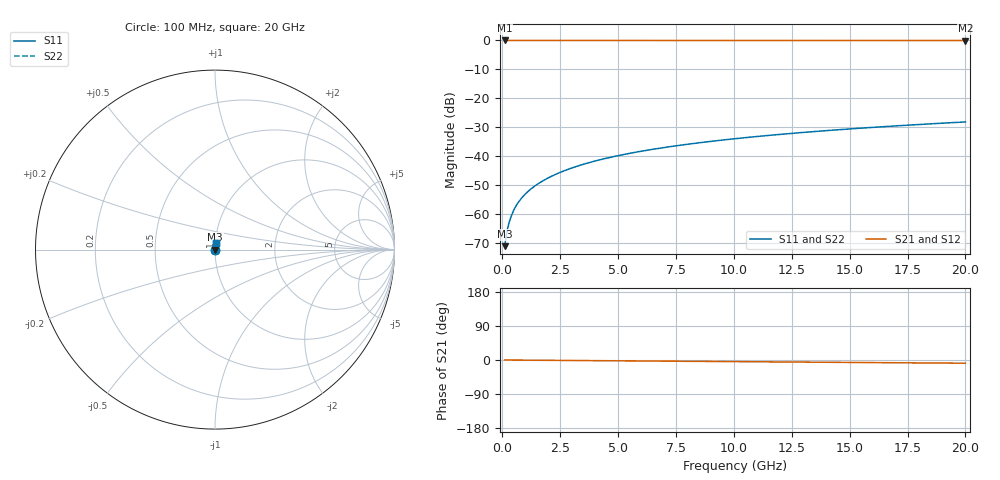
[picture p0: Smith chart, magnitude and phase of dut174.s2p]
! Touchstone file exported from HFSS 2026.1.0
!  File:  C:/ffzhzh/LocalFiles/Ansys_Project_Files/temp_train_TSV_174_1782991153_40604.aedt
!  Generated:  07:21:12 PM Jul  2, 2026
!  Design:  TSV
!  Project:  temp_train_TSV_174_1782991153_40604
! Variables:
!  h_bsmrdl = 2um
!  h_ox = 20um
!  h_rdl = 5um
!  h_sub = 79.4um
!  h_tmrdl = 5um
!  h_tsv = 79.4um
!  h_via = 3um
!  l_bsmrdl = 300um
!  l_sub = 418.46um
!  l_tmrdl = 200um
!  m_sub = 200um
!  pitch = 51.52um
!  r_tsv = 9.23um
!  s_tmrdl = 10um
!  w_bsmrdl = 18um
!  w_sub = 500um
!  w_tmrdl = 12um
!  x_tsv_center1 = 206um
!  x_tsv_center2 = 524um
!  x_tsv_center3 = 736um
!  x_tsv_center4 = 1054um
!  x_tsv_center5 = 1266um
!  x_tsv_center6 = 1584um
# GHz S MA R 50.000000
! Terminal data exported
! Port[1] = TSV1_1_T1
! Port[2] = TSV1_1_T2
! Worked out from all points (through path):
!   200 points, 100 MHz to 20 GHz, reference 50 ohm
!   highest |S21| = 0.00 dB at 100 MHz (marker M1); lowest = 0.0 dB at 20 GHz (marker M2)
!   group delay of S21, straight-line fit = 1.18 ps
!   lowest |S11| = -71.2 dB at 100 MHz (marker M3), VSWR 1.00, Z = 50 + j0.0236 ohm
!   |S11| at or under -10 dB: start of sweep to end of sweep
!   |S22| runs from -71.2 to -28.2 dB; largest |S21 - S12| = 4.8e-15
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0.1  0.0002749 59.2  0.9999 -0.0  0.9999 -0.0  0.0002749 59.2
! Gamma 0 0 0 0
! Port Impedance 50 0 50 0
0.2  0.0004937 72.1  0.9998 -0.1  0.9998 -0.1  0.0004937 72.1
0.3  0.0007196 76.5  0.9998 -0.1  0.9998 -0.1  0.0007196 76.5
0.4  0.0009437 78.4  0.9998 -0.2  0.9998 -0.2  0.0009437 78.4
0.5  0.001164 79.5  0.9998 -0.2  0.9998 -0.2  0.001164 79.5
0.6  0.00138 80.1  0.9998 -0.3  0.9998 -0.3  0.00138 80.1
0.7  0.001592 80.6  0.9997 -0.3  0.9997 -0.3  0.001592 80.6
0.8  0.0018 81.0  0.9997 -0.4  0.9997 -0.4  0.0018 81.0
1  0.00221 81.5  0.9997 -0.4  0.9997 -0.4  0.00221 81.5
1.4  0.003014 82.4  0.9996 -0.6  0.9996 -0.6  0.003014 82.4
1.7  0.003612 82.9  0.9996 -0.7  0.9996 -0.7  0.003612 82.9
2  0.004209 83.3  0.9996 -0.9  0.9996 -0.9  0.004209 83.3
2.7  0.0056 83.8  0.9995 -1.2  0.9995 -1.2  0.0056 83.8
3.5  0.007184 84.1  0.9994 -1.5  0.9994 -1.5  0.007184 84.1
4.2  0.008565 84.2  0.9994 -1.8  0.9994 -1.8  0.008566 84.2
5  0.01014 84.1  0.9993 -2.2  0.9993 -2.2  0.01014 84.1
6.8  0.01365 83.9  0.9991 -2.9  0.9991 -2.9  0.01365 83.9
8.3  0.01655 83.5  0.999 -3.6  0.999 -3.6  0.01655 83.5
10.1  0.02002 83.0  0.9989 -4.3  0.9989 -4.3  0.02002 83.0
13.4  0.02636 81.9  0.9986 -5.7  0.9986 -5.7  0.02636 81.9
16.7  0.03264 80.8  0.9983 -7.1  0.9983 -7.1  0.03264 80.8
20  0.03888 79.5  0.9979 -8.5  0.9979 -8.5  0.03888 79.5
